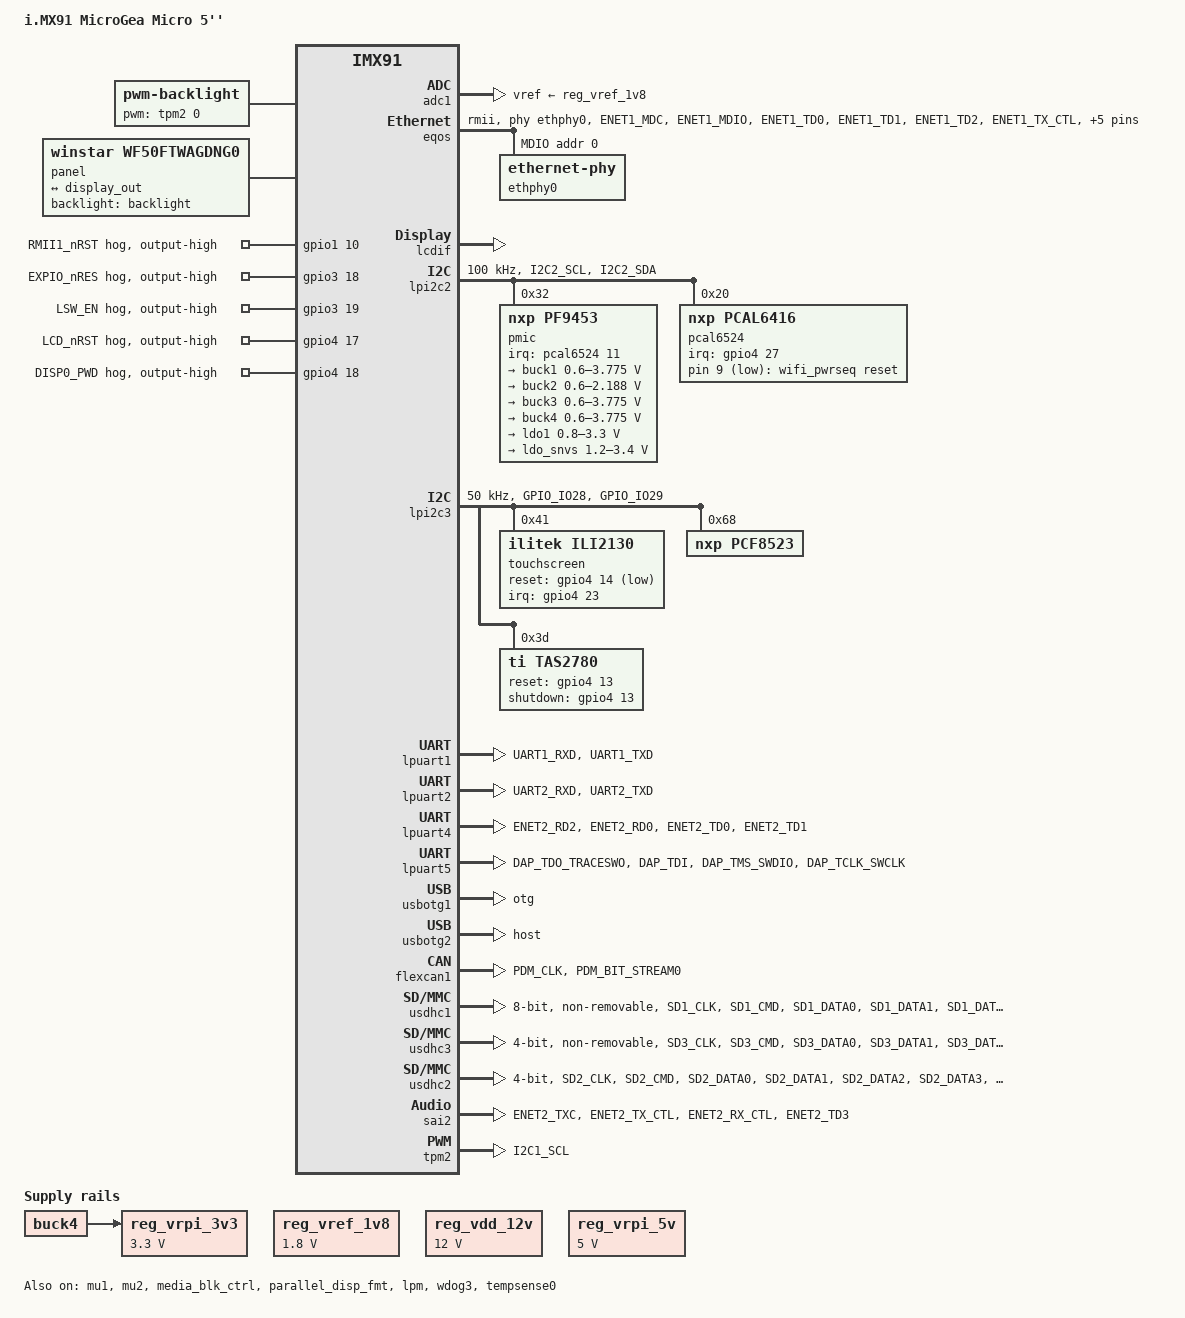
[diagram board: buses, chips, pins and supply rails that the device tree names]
// SPDX-License-Identifier: (GPL-2.0+ OR MIT)
/*
 * Copyright 2024 NXP
 */

/dts-v1/;

#include <dt-bindings/usb/pd.h>
#include "../freescale/imx91.dtsi"

&ele_fw2 {
	memory-region = <&ele_reserved>;
};

/ {
	model = "i.MX91 MicroGea Micro 5''";
	compatible = "eng,microdev2.0", "fsl,imx91";

	chosen {
		stdout-path = &lpuart1;
	};

	aliases {
		rtc0 = &pcf8523;
		rtc1 = &bbnsm_rtc;
	};

	reserved-memory {
		#address-cells = <2>;
		#size-cells = <2>;
		ranges;

		linux,cma {
			compatible = "shared-dma-pool";
			reusable;
			alloc-ranges = <0 0x80000000 0 0x40000000>;
			size = <0 0x10000000>;
			linux,cma-default;
		};

		ele_reserved: ele-reserved@a4120000 {
			compatible = "shared-dma-pool";
			reg = <0 0xa4120000 0 0x100000>;
			no-map;
		};
	};

	reg_vref_1v8: regulator-adc-vref {
		compatible = "regulator-fixed";
		regulator-name = "vref_1v8";
		regulator-min-microvolt = <1800000>;
		regulator-max-microvolt = <1800000>;
	};

	backlight: backlight {
		compatible = "pwm-backlight";
		pwms = <&tpm2 0 100000 0>;
		brightness-levels = <0 100>;
		num-interpolated-steps = <100>;
		default-brightness-level = <80>;
	};

	panel {
		compatible = "winstar,wf50ftwagdng0";
		backlight = <&backlight>;
		status = "okay";

		port {
			panel_in: endpoint {
				remote-endpoint = <&display_out>;
			};
		};
	};

	wifi_pwrseq: wifi_pwrseq {
		compatible = "mmc-pwrseq-simple";
		reset-gpios = <&pcal6524 9 GPIO_ACTIVE_LOW>;// EXPIO_1_1
	};
	
	reg_vdd_12v: regulator-vdd-12v {
		compatible = "regulator-fixed";
		regulator-name = "reg_vdd_12v";
		regulator-min-microvolt = <12000000>;
		regulator-max-microvolt = <12000000>;
		enable-active-high;
	};

	reg_vrpi_3v3: regulator-vrpi-3v3 {
		compatible = "regulator-fixed";
		regulator-name = "VRPI_3V3";
		regulator-min-microvolt = <3300000>;
		regulator-max-microvolt = <3300000>;
		enable-active-high;
		vin-supply = <&buck4>;
	};

	reg_vrpi_5v: regulator-vrpi-5v {
		compatible = "regulator-fixed";
		regulator-name = "VRPI_5V";
		regulator-min-microvolt = <5000000>;
		regulator-max-microvolt = <5000000>;
		enable-active-high;
	};

	usdhc3_pwrseq: usdhc3_pwrseq {
		compatible = "mmc-pwrseq-simple";
	};

	sound {
		compatible = "simple-audio-card";
		simple-audio-card,name = "tas2780-audio";
		simple-audio-card,format = "i2s";
		simple-audio-card,bitclock-master = <&dailink_master1>;
		simple-audio-card,frame-master = <&dailink_master1>;

		dailink_master1: simple-audio-card,cpu {
			sound-dai = <&sai2>;
		};

		simple-audio-card,codec {
			sound-dai = <&tas2780>;
		};
	};
};

&adc1 {
	vref-supply = <&reg_vref_1v8>;
	status = "okay";
};

&mu1 {
	status = "okay";
};

&mu2 {
	status = "okay";
};

&eqos {
	pinctrl-names = "default";
	pinctrl-0 = <&pinctrl_eqos>;
	phy-mode = "rmii";
	phy-handle = <&ethphy0>;
	snps,rmii_refclk_ext;
	status = "okay";

	mdio {
		compatible = "snps,dwmac-mdio";
		#address-cells = <1>;
		#size-cells = <0>;
		clock-frequency = <5000000>;

		ethphy0: ethernet-phy@0 {
			reg = <0>;
		};
	};
};

&lcdif {
	assigned-clock-rates = <300000000>, <30000000>, <400000000>, <133333333>;
	status = "okay";
};

&media_blk_ctrl {
	status = "okay";
};

&parallel_disp_fmt {
	pinctrl-names = "default";
	pinctrl-0 = <&pinctrl_lcdif>;
	fsl,interface-pix-fmt = "rgb888";
	status = "okay";

	ports {
		port@1 {
			reg = <1>;
			display_out: endpoint {
				remote-endpoint = <&panel_in>;
			};
		};
	};
};

&lpm {
	soc-supply = <&buck2>;
	status = "okay";
};

&lpi2c2 {
	#address-cells = <1>;
	#size-cells = <0>;
	clock-frequency = <100000>;
	pinctrl-names = "default", "sleep";
	pinctrl-0 = <&pinctrl_lpi2c2>;
	pinctrl-1 = <&pinctrl_lpi2c2>;
	status = "okay";

	pmic@32 {
		compatible = "nxp,pf9453";
		reg = <0x32>;
		interrupt-parent = <&pcal6524>;
		interrupts = <11 IRQ_TYPE_EDGE_FALLING>;

		regulators {
			buck1: BUCK1 {
				regulator-name = "BUCK1";
				regulator-min-microvolt = <600000>;
				regulator-max-microvolt = <3775000>;
				regulator-boot-on;
				regulator-always-on;
			};

			buck2: BUCK2 {
				regulator-name = "BUCK2";
				regulator-min-microvolt = <600000>;
				regulator-max-microvolt = <2187500>;
				regulator-boot-on;
				regulator-always-on;
				regulator-ramp-delay = <12500>;
			};

			buck3: BUCK3 {
				regulator-name = "BUCK3";
				regulator-min-microvolt = <600000>;
				regulator-max-microvolt = <3775000>;
				regulator-boot-on;
				regulator-always-on;
			};

			buck4: BUCK4{
				regulator-name = "BUCK4";
				regulator-min-microvolt = <600000>;
				regulator-max-microvolt = <3775000>;
				regulator-boot-on;
				regulator-always-on;
			};

			ldo1: LDO1 {
				regulator-name = "LDO1";
				regulator-min-microvolt = <800000>;
				regulator-max-microvolt = <3300000>;
				regulator-boot-on;
				regulator-always-on;
			};

			ldo_snvs: LDO_SNVS {
				regulator-name = "LDO_SNVS";
				regulator-min-microvolt = <1200000>;
				regulator-max-microvolt = <3400000>;
				regulator-boot-on;
				regulator-always-on;
			};
		};
	};

	pcal6524: gpio@20 {
		compatible = "nxp,pcal6416";
		pinctrl-names = "default";
		pinctrl-0 = <&pinctrl_pcal6416>;
		reg = <0x20>;
        	interrupt-parent = <&gpio4>;
	        interrupts = <27 IRQ_TYPE_LEVEL_LOW>;
		interrupt-controller;
		#interrupt-cells = <2>;
		gpio-controller;
		#gpio-cells = <2>;
		gpio-line-names =
			"EXPIO_0_0", "EXPIO_0_1", "EXPIO_0_2", "EXPIO_0_3",
			"EXPIO_0_4", "EXPIO_0_5", "EXPIO_0_6", "EXPIO_0_7",
			"EXPIO_1_0", "EXPIO_1_1", "EXPIO_1_2", "EXPIO_1_3",
			"EXPIO_1_4", "EXPIO_1_5", "EXPIO_1_6", "EXPIO_1_7";

		EXPIO_0_5 {
			gpio-hog;
			gpios = <5 GPIO_ACTIVE_LOW>;
			output-low;
			line-name = "gpio_pwm";
		};
		
		EXPIO_1_0 {
			gpio-hog;
			gpios = <8 GPIO_ACTIVE_LOW>;
			output-high;
			line-name = "gpio_tm";
		};
		
		EXPIO_1_2 {
			gpio-hog;
			gpios = <10 GPIO_ACTIVE_LOW>;
			output-high;
			line-name = "wifi_mode";
		};
	};
};

&clk {
	init-on-array = <IMX91_CLK_CCM_CKO2>;
};

&lpi2c3 {
	#address-cells = <1>;
	#size-cells = <0>;
	clock-frequency = <50000>;
	pinctrl-names = "default";
	pinctrl-0 = <&pinctrl_lpi2c3>;
	status = "okay";

	touchscreen@41 {
		compatible = "ilitek,ili2130";
		pinctrl-0 = <&pinctrl_ilitek>;
		reg = <0x41>;
		interrupt-parent = <&gpio4>;
		interrupts = <23 IRQ_TYPE_LEVEL_LOW>;
		reset-gpios = <&gpio4 14 GPIO_ACTIVE_LOW>;
	};

	pcf8523: rtc@68 {
		compatible = "nxp,pcf8523";
		reg = <0x68>;
	};

	tas2780: codec@3d {
		compatible = "ti,tas2780";
		reg = <0x3d>;
		pinctrl-names = "default";
		pinctrl-0 = <&pinctrl_tas2780>;
		#sound-dai-cells = <0>;
		reset-gpios = <&gpio4 13 0>;
		shutdown-gpios = <&gpio4 13 0>;
		ti,imon-slot-no = <0>;
		ti,vmon-slot-no = <2>;
	};
};

&lpuart1 { /* console */
	pinctrl-names = "default";
	pinctrl-0 = <&pinctrl_uart1>;
	status = "okay";
};

&lpuart2 { /* RS232 */
	pinctrl-names = "default";
	pinctrl-0 = <&pinctrl_uart2>;
	status = "okay";
};

&lpuart4 { /* BT */
	pinctrl-names = "default";
	pinctrl-0 = <&pinctrl_uart4>;
	uart-has-rtscts;
	status = "okay";
};

&lpuart5 { /* RS 485 */
	pinctrl-names = "default";
	pinctrl-0 = <&pinctrl_uart5>;
	uart-has-rtscts;
	status = "okay";
};

&usbotg1 {
	dr_mode = "otg";
	status = "okay";
};

&usbotg2 {
	dr_mode = "host";
	status = "okay";
};

&micfil {
	status = "disabled";
};

&flexcan1 {
	pinctrl-names = "default";
	pinctrl-0 = <&pinctrl_flexcan1>;
	status = "okay";
};

&usdhc1 { /* eMMC */
	pinctrl-names = "default";
	pinctrl-0 = <&pinctrl_usdhc1>;
	bus-width = <8>;
	no-1-8-v;
	no-mmc-hs400;
	non-removable;
	status = "okay";
};

&usdhc3 {
	#address-cells = <1>;
	#size-cells = <0>;
	max-frequency = <10000000>;
	pinctrl-names = "default";
	pinctrl-0 = <&pinctrl_usdhc3>;
	mmc-pwrseq = <&wifi_pwrseq>;
	bus-width = <4>;
	no-1-8-v;
	pm-ignore-notify;
	keep-power-in-suspend;
	non-removable;
	status = "okay";
};

&usdhc2 {  /* sdcard */
	pinctrl-names = "default";
	pinctrl-0 = <&pinctrl_usdhc2>;
	mmc-pwrseq = <&usdhc3_pwrseq>;
	cd-gpios = <&pcal6524 15 GPIO_ACTIVE_LOW>;
	broken-cd;
	max-frequency = <25000000>;
	bus-width = <4>;
	no-1-8-v;
	status = "okay";
};

&sai2 {
	#sound-dai-cells = <0>;
	pinctrl-names = "default", "sleep";
	pinctrl-0 = <&pinctrl_sai2>;
	pinctrl-1 = <&pinctrl_sai2_sleep>;
	assigned-clocks = <&clk IMX91_CLK_SAI2>;
	assigned-clock-parents = <&clk IMX91_CLK_AUDIO_PLL>;
	assigned-clock-rates = <12288000>;
	fsl,sai-mclk-direction-output;
	status = "okay";
};

&wdog3 {
	status = "okay";
};

&tempsense0 {
	status = "okay";
};

&tpm2 {
	pinctrl-names = "default";
	pinctrl-0 = <&pinctrl_tpm2_ch0>;
	status = "okay";
};

&iomuxc {
	pinctrl_pmic: pmicirq {
		fsl,pins = <
			MX91_PAD_SD2_RESET_B__GPIO3_IO7	0x57e
		>;
	};

	pinctrl_tpm2_ch0: tpm2ch0grp {
		fsl,pins = <
			MX91_PAD_I2C1_SCL__TPM2_CH0	0x31e
		>;
	};

	pinctrl_flexcan1: flexcan1grp {
		fsl,pins = <
			MX91_PAD_PDM_CLK__CAN1_TX			0x139e
			MX91_PAD_PDM_BIT_STREAM0__CAN1_RX	0x139e
		>;

	};

	pinctrl_eqos: eqosgrp {
		fsl,pins = <
			MX91_PAD_ENET1_MDC__ENET1_MDC					0x57e
			MX91_PAD_ENET1_MDIO__ENET_QOS_MDIO				0x57e
			MX91_PAD_ENET1_TD0__ENET_QOS_RGMII_TD0				0x57e
			MX91_PAD_ENET1_TD1__ENET1_RGMII_TD1				0x57e
			MX91_PAD_ENET1_TD2__ENET_QOS_CLOCK_GENERATE_CLK			0x57e
			MX91_PAD_ENET1_TX_CTL__ENET_QOS_RGMII_TX_CTL			0x57e
			MX91_PAD_ENET1_RD0__ENET_QOS_RGMII_RD0				0x57e
			MX91_PAD_ENET1_RD1__ENET_QOS_RGMII_RD1				0x57e
			MX91_PAD_ENET1_RXC__ENET_QOS_RGMII_RXC				0x5fe
			MX91_PAD_ENET1_RX_CTL__ENET_QOS_RGMII_RX_CTL			0x57e
			MX91_PAD_PDM_BIT_STREAM1__GPIO1_IO10				0x57e
		>;
	};

	pinctrl_lpi2c2: lpi2c2grp {
		fsl,pins = <
			MX91_PAD_I2C2_SCL__LPI2C2_SCL			0x40000b9e
			MX91_PAD_I2C2_SDA__LPI2C2_SDA			0x40000b9e
		>;
	};

	pinctrl_lpi2c3: lpi2c3grp {
		fsl,pins = <
			MX91_PAD_GPIO_IO28__LPI2C3_SDA			0x40000b9e
			MX91_PAD_GPIO_IO29__LPI2C3_SCL			0x40000b9e
		>;
	};

	pinctrl_pcal6416: pcal6416grp {
		fsl,pins = <
			MX91_PAD_ENET2_RD3__GPIO4_IO27			0x31e /* INTERRUPT */
			MX91_PAD_SD1_STROBE__GPIO3_IO18			0x31e /* RESET */
		>;
	};
	
	pinctrl_lcdif: lcdifgrp {
		fsl,pins = <
			MX91_PAD_GPIO_IO00__MEDIAMIX_DISP_CLK		0x31e
			MX91_PAD_GPIO_IO01__MEDIAMIX_DISP_DE		0x31e
			MX91_PAD_GPIO_IO02__MEDIAMIX_DISP_VSYNC		0x31e
			MX91_PAD_GPIO_IO03__MEDIAMIX_DISP_HSYNC		0x31e
			MX91_PAD_GPIO_IO04__MEDIAMIX_DISP_DATA0		0x31e
			MX91_PAD_GPIO_IO05__MEDIAMIX_DISP_DATA1		0x31e
			MX91_PAD_GPIO_IO06__MEDIAMIX_DISP_DATA2		0x31e
			MX91_PAD_GPIO_IO07__MEDIAMIX_DISP_DATA3		0x31e
			MX91_PAD_GPIO_IO08__MEDIAMIX_DISP_DATA4		0x31e
			MX91_PAD_GPIO_IO09__MEDIAMIX_DISP_DATA5		0x31e
			MX91_PAD_GPIO_IO10__MEDIAMIX_DISP_DATA6		0x31e
			MX91_PAD_GPIO_IO11__MEDIAMIX_DISP_DATA7		0x31e
			MX91_PAD_GPIO_IO12__MEDIAMIX_DISP_DATA8		0x31e
			MX91_PAD_GPIO_IO13__MEDIAMIX_DISP_DATA9		0x31e
			MX91_PAD_GPIO_IO14__MEDIAMIX_DISP_DATA10	0x31e
			MX91_PAD_GPIO_IO15__MEDIAMIX_DISP_DATA11	0x31e
			MX91_PAD_GPIO_IO16__MEDIAMIX_DISP_DATA12	0x31e
			MX91_PAD_GPIO_IO17__MEDIAMIX_DISP_DATA13	0x31e
			MX91_PAD_GPIO_IO18__MEDIAMIX_DISP_DATA14	0x31e
			MX91_PAD_GPIO_IO19__MEDIAMIX_DISP_DATA15	0x31e
			MX91_PAD_GPIO_IO20__MEDIAMIX_DISP_DATA16	0x31e
			MX91_PAD_GPIO_IO21__MEDIAMIX_DISP_DATA17	0x31e
			MX91_PAD_GPIO_IO22__MEDIAMIX_DISP_DATA18	0x31e
			MX91_PAD_GPIO_IO23__MEDIAMIX_DISP_DATA19	0x31e
			MX91_PAD_GPIO_IO24__MEDIAMIX_DISP_DATA20	0x31e
			MX91_PAD_GPIO_IO25__MEDIAMIX_DISP_DATA21	0x31e
			MX91_PAD_GPIO_IO26__MEDIAMIX_DISP_DATA22	0x31e
			MX91_PAD_GPIO_IO27__MEDIAMIX_DISP_DATA23	0x31e
		>;
	};

	pinctrl_sai2: sai1grp {
		fsl,pins = <
			MX91_PAD_ENET2_TXC__SAI2_TX_BCLK		0x31e
			MX91_PAD_ENET2_TX_CTL__SAI2_TX_SYNC		0x31e
			MX91_PAD_ENET2_RX_CTL__SAI2_TX_DATA0	0x31e
			MX91_PAD_ENET2_TD3__SAI2_RX_DATA0		0x31e
		>;
	};

	pinctrl_sai2_sleep: sai1grpsleep {
		fsl,pins = <
			MX91_PAD_ENET2_TXC__GPIO4_IO21			0x51e
			MX91_PAD_ENET2_TX_CTL__GPIO4_IO20		0x51e
			MX91_PAD_ENET2_RX_CTL__GPIO4_IO22		0x51e
			MX91_PAD_ENET2_TD3__GPIO4_IO16			0x51e
		>;
	};

	pinctrl_tas2780: tas2780grp {
		fsl,pins = <
			MX91_PAD_ENET1_RD3__GPIO4_IO13	0x31e
		>;
	};

	pinctrl_uart1: uart1grp {
		fsl,pins = <
			MX91_PAD_UART1_RXD__LPUART1_RX			0x31e
			MX91_PAD_UART1_TXD__LPUART1_TX			0x31e
		>;
	};

	pinctrl_uart2: uart2grp {
		fsl,pins = <
			MX91_PAD_UART2_RXD__LPUART2_RX			0x31e
			MX91_PAD_UART2_TXD__LPUART2_TX			0x31e
		>;
	};

	pinctrl_uart5: uart5grp {
		fsl,pins = <
			MX91_PAD_DAP_TDO_TRACESWO__LPUART5_TX		0x31e
			MX91_PAD_DAP_TDI__LPUART5_RX				0x31e
			MX91_PAD_DAP_TMS_SWDIO__LPUART5_RTS_B		0x31e
			MX91_PAD_DAP_TCLK_SWCLK__LPUART5_CTS_B		0x31e
		>;
	};

	pinctrl_uart4: uart4grp {
		fsl,pins = <
			MX91_PAD_ENET2_RD2__LPUART4_CTS_B	0x31e
			MX91_PAD_ENET2_RD0__LPUART4_RX		0x31e
			MX91_PAD_ENET2_TD0__LPUART4_TX		0x31e
			MX91_PAD_ENET2_TD1__LPUART4_RTS_B	0x31e
		>;
	};

	pinctrl_usdhc1: usdhc1grp {
		fsl,pins = <
			MX91_PAD_SD1_CLK__USDHC1_CLK		0x1582
			MX91_PAD_SD1_CMD__USDHC1_CMD		0x1382
			MX91_PAD_SD1_DATA0__USDHC1_DATA0	0x1382
			MX91_PAD_SD1_DATA1__USDHC1_DATA1	0x1382
			MX91_PAD_SD1_DATA2__USDHC1_DATA2	0x1382
			MX91_PAD_SD1_DATA3__USDHC1_DATA3	0x1382
			MX91_PAD_SD1_DATA4__USDHC1_DATA4	0x1382
			MX91_PAD_SD1_DATA5__USDHC1_DATA5	0x1382
			MX91_PAD_SD1_DATA6__USDHC1_DATA6	0x1382
			MX91_PAD_SD1_DATA7__USDHC1_DATA7	0x1382
		>;
	};

	pinctrl_usdhc2: usdhc2grp {
		fsl,pins = <
			MX91_PAD_SD2_CLK__USDHC2_CLK		0x1582
			MX91_PAD_SD2_CMD__USDHC2_CMD		0x1382
			MX91_PAD_SD2_DATA0__USDHC2_DATA0	0x1382
			MX91_PAD_SD2_DATA1__USDHC2_DATA1	0x1382
			MX91_PAD_SD2_DATA2__USDHC2_DATA2	0x1382
			MX91_PAD_SD2_DATA3__USDHC2_DATA3	0x1382
			MX91_PAD_CCM_CLKO2__CCMSRCGPCMIX_CLKO2	0x31e
		>;
	};

	pinctrl_usdhc3: usdhc3grp {
		fsl,pins = <
			MX91_PAD_SD3_CLK__USDHC3_CLK		0x1582
			MX91_PAD_SD3_CMD__USDHC3_CMD		0x1382
			MX91_PAD_SD3_DATA0__USDHC3_DATA0	0x1382
			MX91_PAD_SD3_DATA1__USDHC3_DATA1	0x1382
			MX91_PAD_SD3_DATA2__USDHC3_DATA2	0x1382
			MX91_PAD_SD3_DATA3__USDHC3_DATA3	0x1382
		>;
	};

	pinctrl_ilitek: ilitekgrp {
		fsl,pins = <
			MX91_PAD_ENET2_RXC__GPIO4_IO23	0x1b0b0 /* LCD_TP_nINT */
			MX91_PAD_ENET2_TD2__GPIO4_IO17		0x1b0b0 /* LCD_TP_nRST */
		>;
	};
};

&gpio1 {
	gpio-line-names =
		"", "", "", "", "", "", "", "",
		"", "", "RMII1_nRST", "", "", "", "", "",
		"", "", "", "", "", "", "", "",
		"", "", "", "", "", "", "", "";
		RMII1_nRST {
			gpio-hog;
			gpios = <10 0>;
			output-high;
		};
};

&gpio2 {
	gpio-line-names =
		"", "", "", "", "", "", "", "",
		"", "", "", "", "", "", "", "",
		"", "", "", "", "", "", "", "",
		"", "", "", "", "", "", "", "";
};

&gpio3 {
	gpio-line-names =
		"", "", "", "", "", "", "", "",
		"", "", "", "", "", "", "", "",
		"", "", "EXPIO_nRES", "LSW_EN", "", "", "", "",
		"", "", "", "", "", "", "", "";

		EXPIO_nRES {
			gpio-hog;
			gpios = <18 0>;
			output-high;
		};

		LSW_EN {
			gpio-hog;
			gpios = <19 0>;
			output-high;
		};
};

&gpio4 {
	gpio-line-names =
		"", "", "", "", "", "", "", "",
		"", "", "", "", "", "", "", "",
		"", "LCD_nRST", "DISP0_PWD", "", "", "", "", "",
		"", "", "", "", "", "", "", "";

		LCD_nRST {
			gpio-hog;
			gpios = <17 0>;
			output-high;
		};
		
		DISP0_PWD {
			gpio-hog;
			gpios = <18 0>;
			output-high;
		};
};
